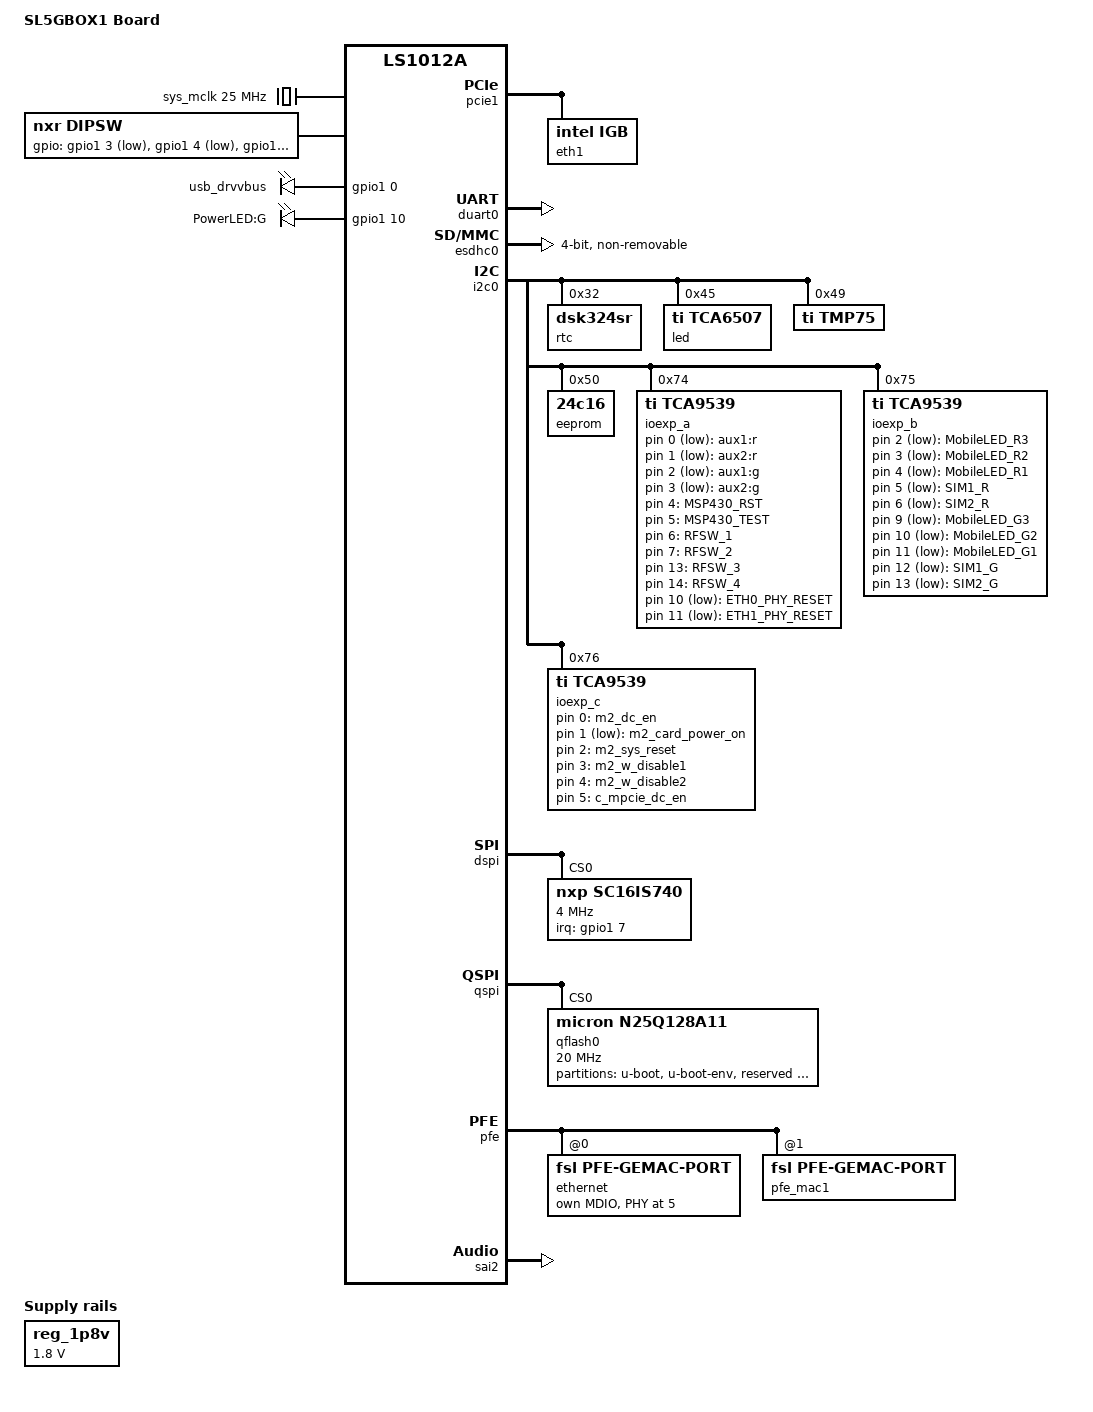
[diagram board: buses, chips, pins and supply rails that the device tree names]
/*
 * Device Tree file for NXP LS1012A FRWY Board.
 *
 * Copyright 2018 NXP
 *
 * This file is dual-licensed: you can use it either under the terms
 * of the GPLv2 or the X11 license, at your option. Note that this dual
 * licensing only applies to this file, and not this project as a
 * whole.
 *
 *  a) This library is free software; you can redistribute it and/or
 *     modify it under the terms of the GNU General Public License as
 *     published by the Free Software Foundation; either version 2 of the
 *     License, or (at your option) any later version.
 *
 *     This library is distributed in the hope that it will be useful,
 *     but WITHOUT ANY WARRANTY; without even the implied warranty of
 *     MERCHANTABILITY or FITNESS FOR A PARTICULAR PURPOSE.  See the
 *     GNU General Public License for more details.
 *
 * Or, alternatively,
 *
 *  b) Permission is hereby granted, free of charge, to any person
 *     obtaining a copy of this software and associated documentation
 *     files (the "Software"), to deal in the Software without
 *     restriction, including without limitation the rights to use,
 *     copy, modify, merge, publish, distribute, sublicense, and/or
 *     sell copies of the Software, and to permit persons to whom the
 *     Software is furnished to do so, subject to the following
 *     conditions:
 *
 *     The above copyright notice and this permission notice shall be
 *     included in all copies or substantial portions of the Software.
 *
 *     THE SOFTWARE IS PROVIDED "AS IS", WITHOUT WARRANTY OF ANY KIND,
 *     EXPRESS OR IMPLIED, INCLUDING BUT NOT LIMITED TO THE WARRANTIES
 *     OF MERCHANTABILITY, FITNESS FOR A PARTICULAR PURPOSE AND
 *     NONINFRINGEMENT. IN NO EVENT SHALL THE AUTHORS OR COPYRIGHT
 *     HOLDERS BE LIABLE FOR ANY CLAIM, DAMAGES OR OTHER LIABILITY,
 *     WHETHER IN AN ACTION OF CONTRACT, TORT OR OTHERWISE, ARISING
 *     FROM, OUT OF OR IN CONNECTION WITH THE SOFTWARE OR THE USE OR
 *     OTHER DEALINGS IN THE SOFTWARE.
 */
/dts-v1/;

#include <dt-bindings/gpio/gpio.h>
#include <dt-bindings/net/ti-dp83867.h>
#include "fsl-ls1012a.dtsi"

/ {
	model = "SL5GBOX1 Board";
	compatible = "sl5gbox1", "fsl,ls1012a";

	aliases {
		ethernet0 = &pfe_mac1;
		ethernet1 = &eth1;
	};

	sys_mclk: clock-mclk {
		compatible = "fixed-clock";
		#clock-cells = <0>;
		clock-frequency = <25000000>;
	};

	reg_1p8v: regulator-1p8v {
		compatible = "regulator-fixed";
		regulator-name = "1P8V";
		regulator-min-microvolt = <1800000>;
		regulator-max-microvolt = <1800000>;
		regulator-always-on;
	};

	dipsw: dipsw {
		compatible = "nxr,dipsw";
		status = "ok";

		gpios = <&gpio1 3 GPIO_ACTIVE_LOW
			 &gpio1 4 GPIO_ACTIVE_LOW
			 &gpio1 5 GPIO_ACTIVE_LOW
			 &gpio1 6 GPIO_ACTIVE_LOW>;
	};

	leds_system: leds_system {
		compatible = "gpio-leds";
		status = "ok";

		usb_drvvbus {
			label = "usb_drvvbus";
			gpios = <&gpio1 0 GPIO_ACTIVE_HIGH>;
			default-state = "on";
		};

		led@1 {
			label = "PowerLED:G";
			gpios = <&gpio1 10 GPIO_ACTIVE_HIGH>;
			default-state = "on";
		};

		led@2 {
			label = "aux1:r";
			gpios = <&ioexp_a 0 GPIO_ACTIVE_LOW>;
		};

		led@3 {
			label = "aux2:r";
			gpios = <&ioexp_a 1 GPIO_ACTIVE_LOW>;
		};

		led@4 {
			label = "aux1:g";
			gpios = <&ioexp_a 2 GPIO_ACTIVE_LOW>;
		};

		led@5 {
			label = "aux2:g";
			gpios = <&ioexp_a 3 GPIO_ACTIVE_LOW>;
		};

		led@6 {
			label = "MobileLED_R3";
			gpios = <&ioexp_b 2 GPIO_ACTIVE_LOW>;
		};

		led@7 {
			label = "MobileLED_R2";
			gpios = <&ioexp_b 3 GPIO_ACTIVE_LOW>;
		};

		led@8 {
			label = "MobileLED_R1";
			gpios = <&ioexp_b 4 GPIO_ACTIVE_LOW>;
		};

		led@9 {
			label = "SIM1_R";
			gpios = <&ioexp_b 5 GPIO_ACTIVE_LOW>;
		};

		led@10 {
			label = "SIM2_R";
			gpios = <&ioexp_b 6 GPIO_ACTIVE_LOW>;
		};

		led@11 {
			label = "MobileLED_G3";
			gpios = <&ioexp_b 9 GPIO_ACTIVE_LOW>;
		};

		led@12 {
			label = "MobileLED_G2";
			gpios = <&ioexp_b 10 GPIO_ACTIVE_LOW>;
		};

		led@13 {
			label = "MobileLED_G1";
			gpios = <&ioexp_b 11 GPIO_ACTIVE_LOW>;
		};

		led@14 {
			label = "SIM1_G";
			gpios = <&ioexp_b 12 GPIO_ACTIVE_LOW>;
		};

		led@15 {
			label = "SIM2_G";
			gpios = <&ioexp_b 13 GPIO_ACTIVE_LOW>;
		};

		msp430_reset {
			label = "MSP430_RST";
			gpios = <&ioexp_a 4 GPIO_ACTIVE_HIGH>;
		};

		msp430_test {
			label = "MSP430_TEST";
			gpios = <&ioexp_a 5 GPIO_ACTIVE_HIGH>;
		};

		rfsw_1 {
			label = "RFSW_1";
			gpios = <&ioexp_a 6 GPIO_ACTIVE_HIGH>;
		};

		rfsw_2 {
			label = "RFSW_2";
			gpios = <&ioexp_a 7 GPIO_ACTIVE_HIGH>;
		};

		rfsw_3 {
			label = "RFSW_3";
			gpios = <&ioexp_a 13 GPIO_ACTIVE_HIGH>;
		};

		rfsw_4 {
			label = "RFSW_4";
			gpios = <&ioexp_a 14 GPIO_ACTIVE_HIGH>;
		};

		eth0_phy_reset {
			label = "ETH0_PHY_RESET";
			gpios = <&ioexp_a 10 GPIO_ACTIVE_LOW>;
		};

		eth1_phy_reset {
			label = "ETH1_PHY_RESET";
			gpios = <&ioexp_a 11 GPIO_ACTIVE_LOW>;
		};
	};

	m2_usb_ctrl: m2_usb_ctrl {
		compatible = "gpio-leds";
		status = "ok";

		c_m2_dc_en {
			/* High: power on, Low: power off */
			label = "m2_dc_en";
			gpios = <&ioexp_c 0 GPIO_ACTIVE_HIGH>;
			default-state = "on";
		};

		c_m2_card_power_n {
			/* High: deassert, Low: assert */
			label = "m2_card_power_on";
			gpios = <&ioexp_c 1 GPIO_ACTIVE_LOW>;
			default-state = "on";
		};

		c_m2_sys_reset {
			/* High: reset, Low: release */
			label = "m2_sys_reset";
			gpios = <&ioexp_c 2 GPIO_ACTIVE_HIGH>;
			default-state = "off";
		};

		c_m2_w_disable1 {
			/* High: assert, Low: deassert */
			label = "m2_w_disable1";
			gpios = <&ioexp_c 3 GPIO_ACTIVE_HIGH>;
			default-state = "off";
		};

		c_m2_w_disable2 {
			/* High: assert, Low: deassert */
			label = "m2_w_disable2";
			gpios = <&ioexp_c 4 GPIO_ACTIVE_HIGH>;
			default-state = "off";
		};
	};

 	mpcie_ctrl: mpcie_ctrl {
		compatible = "gpio-leds";
		status = "ok";

		c_mpcie_dc_en {
			label = "c_mpcie_dc_en";
			gpios = <&ioexp_c 5 GPIO_ACTIVE_HIGH>;
			default-state = "on";
		};
	};
};

&pcie1 {
	status = "okay";

	pci_root: root@0,0 {
		reg = <0x00000000 0 0 0 0>;
		#address-cells = <3>;
		#size-cells = <2>;

		eth1: eth1@3 {
			compatible = "intel,igb";
			reg = <0x00010000 0 0 0 0>;
			#address-cells = <3>;
			#size-cells = <2>;
			mac-address = [ 00 80 6d 01 23 45 ];
		};
	};
};

&duart0 {
	clocks = <&clockgen 4 3>;
	status = "okay";
};

&esdhc0 {
	clocks = <&clockgen 4 1>;
	bus-width = <4>;
	broken-cd;
	non-removable;
	disable-wp;
	status = "okay";
};

&esdhc1 {
	status = "disabled";
};

&i2c0 {
	status = "okay";

	rtc@32 {
		compatible = "dsk324sr";
		reg = <0x32>;
	};

	led@45 {
		compatible = "ti,tca6507";
		#address-cells = <1>;
		#size-cells = <0>;
		reg = <0x45>;

		/* LEDs on Main board */
		led0: power-status-red@0 {
			label = "power-stat:r";
			reg = <0x0>;
		};

		led1: system-status1-red@1 {
			label = "system-status1:r";
			reg = <0x1>;
			linux,default-trigger = "heartbeat";
		};

		led2: system-status2-red@2 {
			label = "system-status2:r";
			reg = <0x2>;
		};

		led3: system-status3-red@3 {
			label = "system-status3:r";
			reg = <0x3>;
		};

		led4: system-status1-green@4 {
			label = "system-status1:g";
			reg = <0x4>;
		};

		led5: system-status2-green@5 {
			label = "system-status2:g";
			reg = <0x5>;
		};

		led6: system-status3-green@6 {
			label = "system-status3:g";
			reg = <0x6>;
		};
	};

	tmp75@49 {
		compatible = "ti,tmp75";
		reg = <0x49>;
	};

	eeprom@50 {
		compatible = "24c16";
		reg = <0x50>;
	};

	ioexp_a: gpio@74 {
		compatible = "ti,tca9539";
		reg = <0x74>;
		gpio-controller;
		#gpio-cells = <2>;

		gpio-line-names = "AUX1_R", "AUX2_R", "AUX1_G", "AUX2_G",
				  "MSP430_RST", "MSP430_TEST", "RFSW_1", "RSFW_2",
				  "", "ETH0_PHY_Reset", "ETH1_PHY_Reset", "",
				  "", "RFSW_3", "RFSW_4", "USBHUB_Reset";
	};

	ioexp_b: gpio@75 {
		compatible = "ti,tca9539";
		reg = <0x75>;
		gpio-controller;
		#gpio-cells = <2>;

		gpio-line-names = "", "", "MobileLED_R3", "MobileLED_R2",
				  "MobileLED_R1", "SIM1_R", "SIM2_R", "",
				  "", "MobileLED_G3", "MobileLED_G2", "MobileLED_G1",
				  "SIM1_G", "SIM2_G", "", "";
	};

	ioexp_c: gpio@76 {
		compatible = "ti,tca9539";
		reg = <0x76>;
		gpio-controller;
		#gpio-cells = <2>;

		gpio-line-names = "", "", "", "", "", "", "", "", /* IO0_0..7 */
				  "", "", "", "SIM1_CD", "SIM2_CD", "", "", ""; /* IO1_0..7 */
	};
};

&dspi {
	bus-num = <0>;
	status = "okay";

	sc16is740: sc16is740@0 {
		compatible = "nxp,sc16is740";
		reg = <0>;
		spi-max-frequency = <4000000>;
		clocks = <&clk24m>;
		interrupt-parent = <&gpio1>;
		interrupts = <7 2>;

		clk24m: oscillator {
			#clock-cells = <0>;
			compatible = "fixed-clock";
			clock-frequency = <24000000>;
		};
	};
};

&qspi {
	num-cs = <1>;
	bus-num = <0>;
	status = "okay";

	qflash0: n25q128a11@0 {
		compatible = "micron,n25q128a11";
		#address-cells = <1>;
		#size-cells = <1>;
		spi-max-frequency = <20000000>;
		m25p,fast-read;
		reg = <0>;
		spi-rx-bus-width = <2>;
		spi-tx-bus-width = <2>;

		/* MTD partition table */
		partition@0 {
			label = "u-boot";
			reg = <0x00000000 0x00200000>;
		};

		partition@1 {
			label = "u-boot-env";
			reg = <0x00200000 0x00080000>;
		};

		partition@2 {
			label = "reserved";
			reg = <0x00280000 0x00080000>;
		};

		partition@3 {
			label = "oops";
			reg = <0x00300000 0x00100000>;
		};

		barebox_env: partition@4 {
			label = "barebox.env";
			reg = <0x00400000 0x00080000>;
		};

		barebox_bin: partition@5 {
			label = "barebox.bin";
			reg = <0x00480000 0x00180000>;
		};

		hist_firmup: partition@6 {
			label = "hist_firmup";
			reg = <0x00600000 0x00080000>;
		};

		hist_boot: partition@7 {
			label = "hist_boot";
			reg = <0x00680000 0x00080000>;
		};
	};
};

&pfe {
	status = "okay";
	#address-cells = <1>;
	#size-cells = <0>;
	//fsl,pfe-num-interfaces = <0x1>;

	ethernet@0 {
		compatible = "fsl,pfe-gemac-port";
		#address-cells = <1>;
		#size-cells = <0>;
		reg = <0x0>;	/* GEM_ID */
		fsl,gemac-bus-id = <0x0>;	/* BUS_ID */
		fsl,gemac-phy-id = <0x0>;	/* PHY_ID */
		fsl,mdio-mux-val = <0x0>;
		phy-mode = "sgmii";
		fsl,pfe-phy-if-flags = <0x0>;

		mdio@0 {
			#address-cells = <1>;
			#size-cells = <0>;
			reg = <0x1>; /* enabled/disabled */

			sgmii_phy1: ethernet-phy@1 {
				reg = <5>;
				ti,fifo-depth = <DP83867_PHYCR_FIFO_DEPTH_4_B_NIB>;
				#interrupt-cells = <2>;
				interrupt-parent = <&gpio1>;
				interrupts = <12 IRQ_TYPE_EDGE_FALLING>;
				irq-gpio = <&gpio1 12 GPIO_ACTIVE_LOW>;
			};
		};
	};

	pfe_mac1: ethernet@1 {
		compatible = "fsl,pfe-gemac-port";
		#address-cells = <1>;
		#size-cells = <0>;
		reg = <0x1>;	/* GEM_ID */
		fsl,gemac-bus-id = <0x1>;       /* BUS_ID */
		fsl,gemac-phy-id = <0x5>;       /* PHY_ID */
		fsl,mdio-mux-val = <0x0>;
		phy-mode = "sgmii";
		fsl,pfe-phy-if-flags = <0x0>;

		mdio@0 {
			reg = <0x0>; /* enabled/disabled */
		};
	};
};

&sai2 {
	status = "okay";
};
